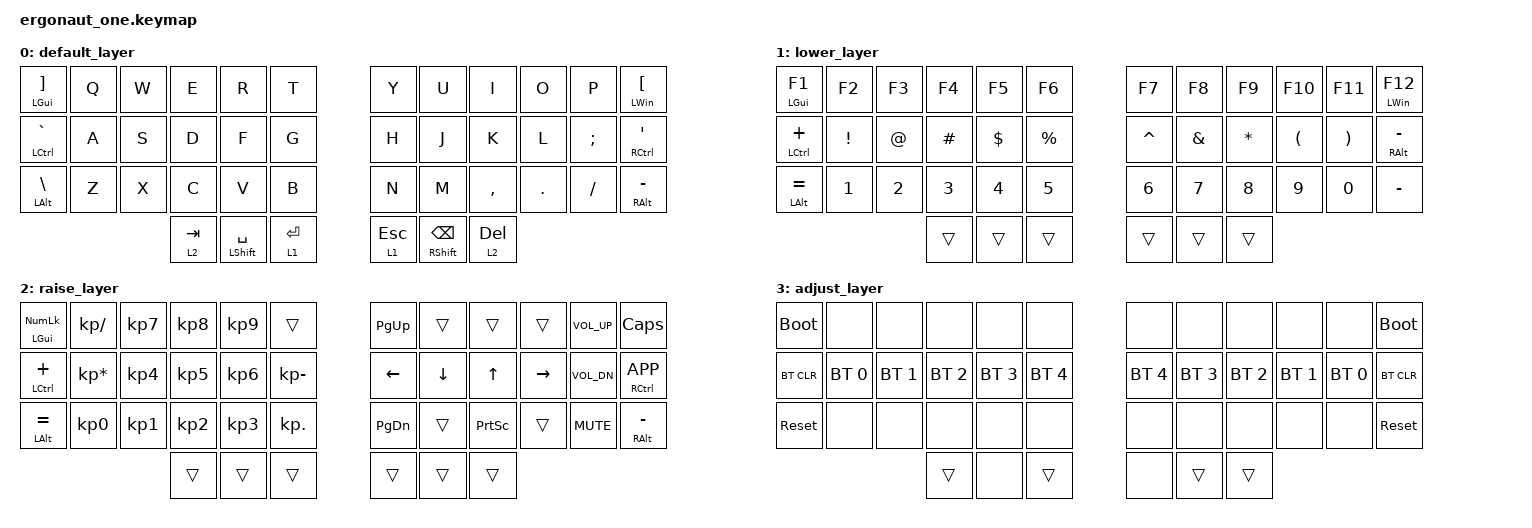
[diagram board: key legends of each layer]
#include <behaviors.dtsi>
#include <dt-bindings/zmk/bt.h>
#include <dt-bindings/zmk/keys.h>

#define DEF 0
#define LWR 1
#define RSE 2
#define ADJ 3

&lt { quick-tap-ms = <200>; };

&mt { quick-tap-ms = <200>; };

/ {
    conditional_layers {
        compatible = "zmk,conditional-layers";

        tri-layer {
            if-layers = <1 2>;
            then-layer = <3>;
        };
    };

    combos {
        compatible = "zmk,combos";

        to_game_layer {
            bindings = <&to 0>;
            key-positions = <36 37 38>;
        };
    };

    keymap {
        compatible = "zmk,keymap";

        default_layer {
            bindings = <
&mt LGUI RBKT       &kp Q  &kp W  &kp E      &kp R            &kp T      &kp Y      &kp U           &kp I      &kp O    &kp P     &mt LEFT_WIN LEFT_BRACKET
&mt LCTRL GRAVE     &kp A  &kp S  &kp D      &kp F            &kp G      &kp H      &kp J           &kp K      &kp L    &kp SEMI  &mt RCTRL SQT
&mt LALT BACKSLASH  &kp Z  &kp X  &kp C      &kp V            &kp B      &kp N      &kp M           &kp COMMA  &kp DOT  &kp FSLH  &mt RALT MINUS
                                  &lt 2 TAB  &mt LSHFT SPACE  &lt 1 RET  &lt 1 ESC  &mt RSHFT BSPC  &lt 2 DEL
            >;
        };

        lower_layer {
            bindings = <
&mt LGUI F1     &kp F2    &kp F3  &kp F4    &kp F5    &kp F6     &kp F7     &kp F8    &kp F9    &kp F10   &kp F11   &mt LEFT_WIN F12
&mt LCTRL PLUS  &kp EXCL  &kp AT  &kp HASH  &kp DLLR  &kp PRCNT  &kp CARET  &kp AMPS  &kp STAR  &kp LPAR  &kp RPAR  &mt RIGHT_ALT MINUS
&mt LALT EQUAL  &kp N1    &kp N2  &kp N3    &kp N4    &kp N5     &kp N6     &kp N7    &kp N8    &kp N9    &kp N0    &kp MINUS
                                  &trans    &trans    &trans     &trans     &trans    &trans
            >;
        };

        raise_layer {
            bindings = <
&mt LGUI KP_NUM     &kp KP_SLASH     &kp KP_N7  &kp KP_N8  &kp KP_N9  &trans        &kp PG_UP      &trans    &trans           &trans     &kp C_VOLUME_UP  &kp CLCK
&mt LCTRL PLUS      &kp KP_MULTIPLY  &kp KP_N4  &kp KP_N5  &kp KP_N6  &kp KP_MINUS  &kp LEFT       &kp DOWN  &kp UP           &kp RIGHT  &kp C_VOL_DN     &mt RCTRL K_APP
&mt LEFT_ALT EQUAL  &kp KP_N0        &kp KP_N1  &kp KP_N2  &kp KP_N3  &kp KP_DOT    &kp PAGE_DOWN  &trans    &kp PRINTSCREEN  &trans     &kp K_MUTE       &mt RIGHT_ALT MINUS
                                                &trans     &trans     &trans        &trans         &trans    &trans
            >;
        };

        adjust_layer {
            bindings = <
&bootloader  &none         &none         &none         &none         &none         &none         &none         &none         &none         &none         &bootloader
&bt BT_CLR   &bt BT_SEL 0  &bt BT_SEL 1  &bt BT_SEL 2  &bt BT_SEL 3  &bt BT_SEL 4  &bt BT_SEL 4  &bt BT_SEL 3  &bt BT_SEL 2  &bt BT_SEL 1  &bt BT_SEL 0  &bt BT_CLR
&sys_reset   &none         &none         &none         &none         &none         &none         &none         &none         &none         &none         &sys_reset
                                         &trans        &none         &trans        &none         &trans        &trans
            >;
        };
    };
};
